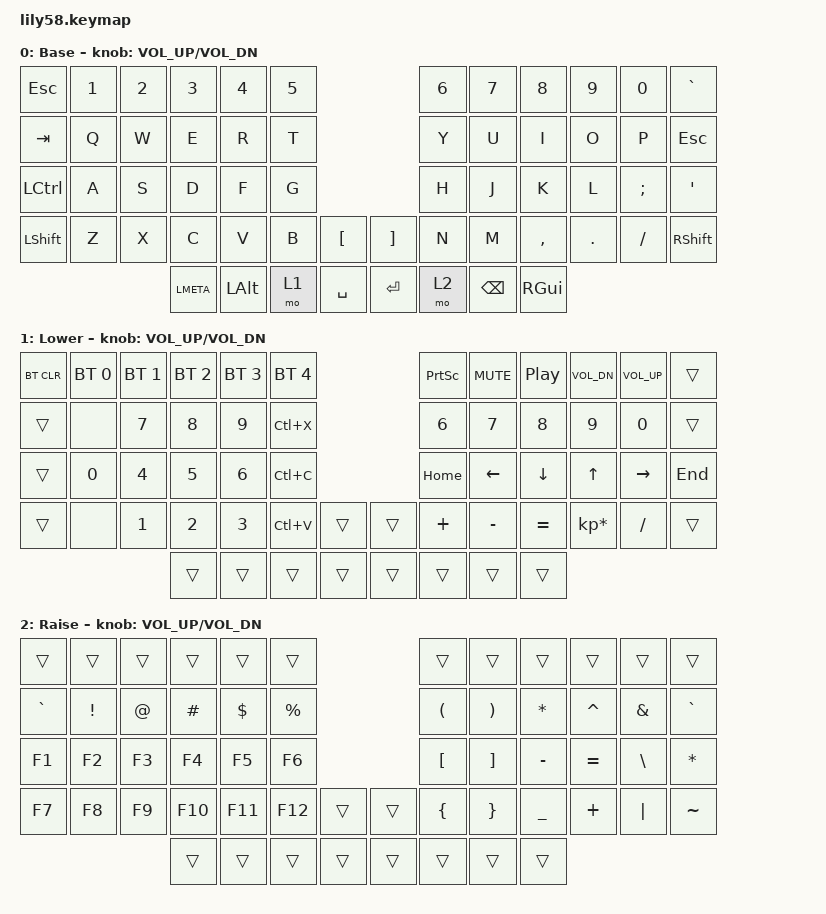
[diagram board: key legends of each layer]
/*
 * Copyright (c) 2020 The ZMK Contributors
 *
 * SPDX-License-Identifier: MIT
 */

#include <behaviors.dtsi>
#include <dt-bindings/zmk/bt.h>
#include <dt-bindings/zmk/keys.h>

/ {
    keymap {
        compatible = "zmk,keymap";

        default_layer {
            // ------------------------------------------------------------------------------------------------------------
            // |  ESC  |  1  |  2  |  3   |  4   |  5   |                   |  6   |  7    |  8    |  9   |   0   |   `   |
            // |  TAB  |  Q  |  W  |  E   |  R   |  T   |                   |  Y   |  U    |  I    |  O   |   P   |   -   |
            // |  CTRL |  A  |  S  |  D   |  F   |  G   |                   |  H   |  J    |  K    |  L   |   ;   |   '   |
            // | SHIFT |  Z  |  X  |  C   |  V   |  B   |   "["  |  |  "]"  |  N   |  M    |  ,    |  .   |   /   | SHIFT |
            //                     | ALT  | GUI  | LOWER|  SPACE |  | ENTER | RAISE| BSPC  | GUI   |

            display-name = "Base";
            bindings = <
&kp ESC    &kp N1  &kp N2  &kp N3     &kp N4    &kp N5                         &kp N6  &kp N7    &kp N8     &kp N9   &kp N0    &kp GRAVE
&kp TAB    &kp Q   &kp W   &kp E      &kp R     &kp T                          &kp Y   &kp U     &kp I      &kp O    &kp P     &kp ESC
&kp LCTRL  &kp A   &kp S   &kp D      &kp F     &kp G                          &kp H   &kp J     &kp K      &kp L    &kp SEMI  &kp SQT
&kp LSHFT  &kp Z   &kp X   &kp C      &kp V     &kp B   &kp LBKT     &kp RBKT  &kp N   &kp M     &kp COMMA  &kp DOT  &kp FSLH  &kp RSHFT
                           &kp LMETA  &kp LALT  &mo 1   &kp SPACE    &kp RET   &mo 2   &kp BSPC  &kp RGUI
            >;

            sensor-bindings = <&inc_dec_kp C_VOL_UP C_VOL_DN>;
        };

        lower_layer {
            // ------------------------------------------------------------------------------------------------------------
            // | BTCLR | BT1 | BT2 |  BT3 |  BT4 |  BT5 |                   |      |       |       |      |       |       |
            // |  F1   |  F2 |  F3 |  F4  |  F5  |  F6  |                   |  F7  |  F8   |  F9   |  F10 |  F11  |  F12  |
            // |   `   |  !  |  @  |  #   |  $   |  %   |                   |  ^   |  &    |  *    |  (   |   )   |   ~   |
            // |       |     |     |      |      |      |        |  |       |      |  _    |  +    |  {   |   }   |  "|"  |
            //                     |      |      |      |        |  |       |      |       |       |

            display-name = "Lower";
            bindings = <
&bt BT_CLR  &bt BT_SEL 0  &bt BT_SEL 1  &bt BT_SEL 2  &bt BT_SEL 3  &bt BT_SEL 4                    &kp PRINTSCREEN  &kp C_MUTE  &kp C_PLAY_PAUSE  &kp C_VOL_DN     &kp C_VOLUME_UP  &trans
&trans      &none         &kp N7        &kp NUMBER_8  &kp NUMBER_9  &kp LC(X)                       &kp N6           &kp N7      &kp N8            &kp N9           &kp N0           &trans
&trans      &kp NUMBER_0  &kp NUMBER_4  &kp N5        &kp NUMBER_6  &kp LC(C)                       &kp HOME         &kp LEFT    &kp DOWN          &kp UP_ARROW     &kp RIGHT        &kp END
&trans      &none         &kp NUMBER_1  &kp NUMBER_2  &kp NUMBER_3  &kp LC(V)     &trans    &trans  &kp PLUS         &kp MINUS   &kp EQUAL         &kp KP_MULTIPLY  &kp FSLH         &trans
                                        &trans        &trans        &trans        &trans    &trans  &trans           &trans      &trans
            >;

            sensor-bindings = <&inc_dec_kp C_VOL_UP C_VOL_DN>;
        };

        raise_layer {
            // ------------------------------------------------------------------------------------------------------------
            // |       |     |     |      |      |      |                   |      |       |       |      |       |       |
            // |   `   |  1  |  2  |  3   |  4   |  5   |                   |  6   |   7   |   8   |  9   |   0   |       |
            // |   F1  |  F2 |  F3 |  F4  |  F5  |  F6  |                   |      |   <-  |   v   |  ^   |  ->   |       |
            // |   F7  |  F8 |  F9 |  F10 |  F11 |  F12 |        |  |       |  +   |   -   |   =   |  [   |   ]   |   \   |
            //                     |      |      |      |        |  |       |      |       |       |

            display-name = "Raise";
            bindings = <
&trans     &trans    &trans  &trans    &trans    &trans                         &trans                &trans                 &trans     &trans     &trans    &trans
&kp GRAVE  &kp EXCL  &kp AT  &kp HASH  &kp DLLR  &kp PERCENT                    &kp LEFT_PARENTHESIS  &kp RIGHT_PARENTHESIS  &kp ASTRK  &kp CARET  &kp AMPS  &kp GRAVE
&kp F1     &kp F2    &kp F3  &kp F4    &kp F5    &kp F6                         &kp LEFT_BRACKET      &kp RIGHT_BRACKET      &kp MINUS  &kp EQUAL  &kp BSLH  &kp STAR
&kp F7     &kp F8    &kp F9  &kp F10   &kp F11   &kp F12      &trans    &trans  &kp LEFT_BRACE        &kp RIGHT_BRACE        &kp UNDER  &kp PLUS   &kp PIPE  &kp TILDE
                             &trans    &trans    &trans       &trans    &trans  &trans                &trans                 &trans
            >;

            sensor-bindings = <&inc_dec_kp C_VOL_UP C_VOL_DN>;
        };
    };
};
